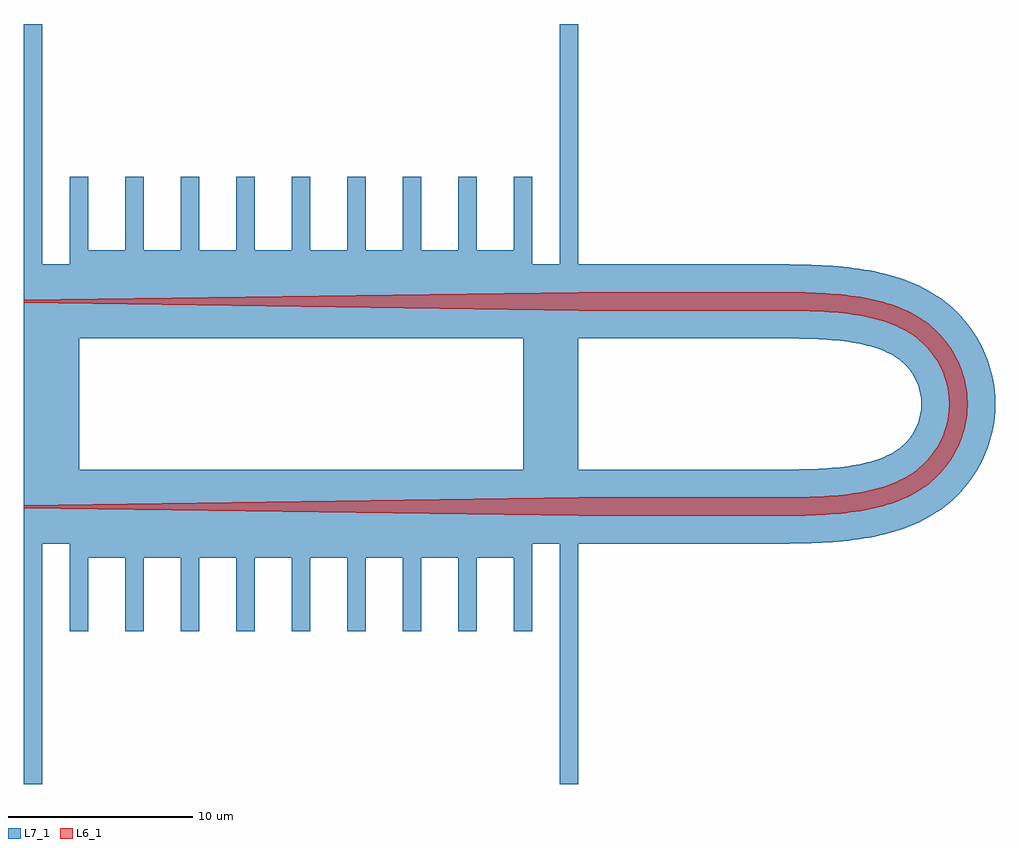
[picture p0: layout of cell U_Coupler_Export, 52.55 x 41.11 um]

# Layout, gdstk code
from math import pi, radians
import gdstk
lib = gdstk.Library(unit=1e-6, precision=1e-09)
def R(c, l, rs):  # rectangles x0, y0, x1, y1
    for r in rs: c.add(gdstk.rectangle(r[:2], r[2:], *l))
def A(c, l, x, y, w, h, nx, ny, dx, dy):  # array of equal rectangles
    R(c, l, [(x+i*dx, y+j*dy, x+i*dx+w, y+j*dy+h) for i in range(nx) for j in range(ny)])
def P(c, l, *ps):  # polygons
    for p in ps: c.add(gdstk.Polygon(p, *l))
L6_1 = (6, 1)
L7_1 = (7, 1)

couplerinlet = lib.new_cell('CouplerInlet')
P(couplerinlet, L6_1, [(-33.954,47.721),(-3.954,48.146),(-3.954,47.146),(-33.954,47.571)])
R(couplerinlet, L7_1, [(-33.954,45.646,-3.954,49.646)])

anchoredcouplerinlet_woc = lib.new_cell('AnchoredCouplerInlet_woComb_Expo')
R(anchoredcouplerinlet_woc, L7_1, [(16.5,26.075,17.5,39.075), (45.5,26.075,46.5,39.075)])
anchoredcouplerinlet_woc.add(gdstk.Reference(couplerinlet, (50.454,-23.571)))

comb_l4w1_g500_d500_stop = lib.new_cell('Comb_L4W1_G500_D500_StoppersCent')
A(comb_l4w1_g500_d500_stop, L7_1, 19, 19.075, 1, 1.3, 9, 1, 3, 0)
A(comb_l4w1_g500_d500_stop, L7_1, 19, 19.825, 1, 4, 9, 1, 3, 0)
R(comb_l4w1_g500_d500_stop, L7_1, [(19,19.075,44,19.825)])

actuator_stopperscenter_ = lib.new_cell('Actuator_StoppersCenter_Export')
actuator_stopperscenter_.add(gdstk.Reference(anchoredcouplerinlet_woc, (45.412,-2.987)))
actuator_stopperscenter_.add(gdstk.Reference(comb_l4w1_g500_d500_stop, (45.412,4.013)))

sinecircsine180_0p6_r005 = lib.new_cell('SineCircSine180_0p6_R005000nm_Of')
sinecircsine180_0p6_r005.add(gdstk.FlexPath([(-5.554,-15.554),(-5.554,-5.269),(-5.553,-4.984),(-5.553,-4.7),(-5.549,-4.134),(-5.545,-3.853),(-5.54,-3.573),(-5.534,-3.295),(-5.526,-3.018),(-5.515,-2.744),(-5.503,-2.472),(-5.488,-2.202),(-5.47,-1.935),(-5.45,-1.67),(-5.426,-1.409),(-5.399,-1.151),(-5.369,-0.897),(-5.335,-0.646),(-5.297,-0.399),(-5.255,-0.156),(-5.21,0.083),(-5.159,0.318),(-5.105,0.548),(-5.046,0.774),(-4.982,0.995),(-4.913,1.211),(-4.839,1.422),(-4.761,1.628),(-4.677,1.829),(-4.587,2.024),(-4.493,2.214),(-4.393,2.399),(-4.287,2.578),(-4.176,2.752),(-4.059,2.92),(-3.937,3.083),(-3.809,3.239),(-3.675,3.39),(-3.536,3.536),(-3.39,3.675),(-3.24,3.809),(-3.084,3.936),(-2.923,4.057),(-2.757,4.171),(-2.587,4.279),(-2.412,4.38),(-2.234,4.473),(-2.052,4.559),(-1.867,4.638),(-1.679,4.71),(-1.488,4.774),(-1.294,4.83),(-1.099,4.878),(-0.901,4.918),(-0.703,4.95),(-0.503,4.975),(-0.302,4.991),(-0.101,4.999),(0.101,4.999),(0.302,4.991),(0.503,4.975),(0.703,4.95),(0.901,4.918),(1.099,4.878),(1.294,4.83),(1.488,4.774),(1.679,4.71),(1.867,4.638),(2.052,4.559),(2.234,4.473),(2.412,4.38),(2.587,4.279),(2.757,4.171),(2.923,4.057),(3.084,3.936),(3.24,3.809),(3.39,3.675),(3.536,3.536),(3.675,3.39),(3.809,3.239),(3.937,3.083),(4.059,2.92),(4.176,2.752),(4.287,2.578),(4.393,2.399),(4.493,2.214),(4.587,2.024),(4.677,1.829),(4.761,1.628),(4.839,1.422),(4.913,1.211),(4.982,0.995),(5.046,0.774),(5.105,0.548),(5.159,0.318),(5.21,0.083),(5.255,-0.156),(5.297,-0.399),(5.335,-0.646),(5.369,-0.897),(5.399,-1.151),(5.426,-1.409),(5.45,-1.67),(5.47,-1.935),(5.488,-2.202),(5.503,-2.472),(5.515,-2.744),(5.526,-3.018),(5.534,-3.295),(5.54,-3.573),(5.545,-3.853),(5.549,-4.134),(5.553,-4.7),(5.553,-4.984),(5.554,-5.269),(5.554,-15.554)], 4, ends="flush", simple_path=True, layer=7, datatype=1))  # L7_1
sinecircsine180_0p6_r005.add(gdstk.FlexPath([(-5.554,-15.554),(-5.554,-5.269),(-5.553,-4.984),(-5.553,-4.7),(-5.549,-4.134),(-5.545,-3.853),(-5.54,-3.573),(-5.534,-3.295),(-5.526,-3.018),(-5.515,-2.744),(-5.503,-2.472),(-5.488,-2.202),(-5.47,-1.935),(-5.45,-1.67),(-5.426,-1.409),(-5.399,-1.151),(-5.369,-0.897),(-5.335,-0.646),(-5.297,-0.399),(-5.255,-0.156),(-5.21,0.083),(-5.159,0.318),(-5.105,0.548),(-5.046,0.774),(-4.982,0.995),(-4.913,1.211),(-4.839,1.422),(-4.761,1.628),(-4.677,1.829),(-4.587,2.024),(-4.493,2.214),(-4.393,2.399),(-4.287,2.578),(-4.176,2.752),(-4.059,2.92),(-3.937,3.083),(-3.809,3.239),(-3.675,3.39),(-3.536,3.536),(-3.39,3.675),(-3.24,3.809),(-3.084,3.936),(-2.923,4.057),(-2.757,4.171),(-2.587,4.279),(-2.412,4.38),(-2.234,4.473),(-2.052,4.559),(-1.867,4.638),(-1.679,4.71),(-1.488,4.774),(-1.294,4.83),(-1.099,4.878),(-0.901,4.918),(-0.703,4.95),(-0.503,4.975),(-0.302,4.991),(-0.101,4.999),(0.101,4.999),(0.302,4.991),(0.503,4.975),(0.703,4.95),(0.901,4.918),(1.099,4.878),(1.294,4.83),(1.488,4.774),(1.679,4.71),(1.867,4.638),(2.052,4.559),(2.234,4.473),(2.412,4.38),(2.587,4.279),(2.757,4.171),(2.923,4.057),(3.084,3.936),(3.24,3.809),(3.39,3.675),(3.536,3.536),(3.675,3.39),(3.809,3.239),(3.937,3.083),(4.059,2.92),(4.176,2.752),(4.287,2.578),(4.393,2.399),(4.493,2.214),(4.587,2.024),(4.677,1.829),(4.761,1.628),(4.839,1.422),(4.913,1.211),(4.982,0.995),(5.046,0.774),(5.105,0.548),(5.159,0.318),(5.21,0.083),(5.255,-0.156),(5.297,-0.399),(5.335,-0.646),(5.369,-0.897),(5.399,-1.151),(5.426,-1.409),(5.45,-1.67),(5.47,-1.935),(5.488,-2.202),(5.503,-2.472),(5.515,-2.744),(5.526,-3.018),(5.534,-3.295),(5.54,-3.573),(5.545,-3.853),(5.549,-4.134),(5.553,-4.7),(5.553,-4.984),(5.554,-5.269),(5.554,-15.554)], 1, ends="flush", simple_path=True, layer=6, datatype=1))  # L6_1

couplerbody = lib.new_cell('CouplerBody')
couplerbody.add(gdstk.Reference(sinecircsine180_0p6_r005, (-2756.886,-1087.794)))

u_coupler_export = lib.new_cell('U_Coupler_Export')
R(u_coupler_export, L7_1, [(-38.091,14.967,-35.091,22.075), (-11.079,14.967,-8.091,22.075)])
u_coupler_export.add(gdstk.Reference(actuator_stopperscenter_, (-100.003,34.055), x_reflection=True))
u_coupler_export.add(gdstk.Reference(couplerbody, (1095.257,-2738.365), rotation=3*pi/2))
u_coupler_export.add(gdstk.Reference(actuator_stopperscenter_, (-100.003,2.987)))

lib.write_gds('U_Coupler_Export.gds')
